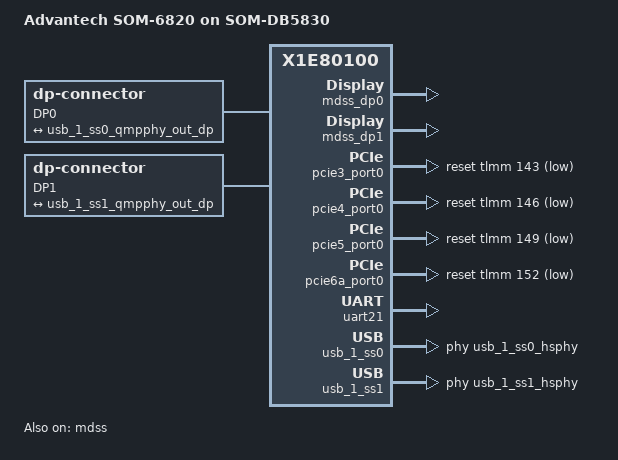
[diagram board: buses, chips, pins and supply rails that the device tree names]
// SPDX-License-Identifier: BSD-3-Clause
/*
 * Copyright (c) Qualcomm Technologies, Inc. and/or its subsidiaries.
 *
 * SoM: https://advdownload.advantech.com.cn/productfile/PIS/SOM-6820/file/SOM-6820_DS(052925)20250529110758.pdf
 * carrier board: https://www.advantech.com.cn/zh-cn/products/1-fc23ff/som-db5830/mod_16b1a718-27d6-4a4c-8684-e8f2a8e9c57b
 */

/dts-v1/;

#include "hamoa-advantech-som-6820.dtsi"

/ {
	model = "Advantech SOM-6820 on SOM-DB5830";
	compatible = "advantech,som-db5830", "advantech,som-6820",
		     "qcom,iq-x7181-evk-som", "qcom,x1e80100";
	chassis-type = "embedded";

	aliases {
		serial0 = &uart21;
	};

	chosen {
		stdout-path = "serial0:115200n8";
	};

	dp-connector-0 {
		compatible = "dp-connector";
		label = "DP0";
		type = "full-size";

		pinctrl-0 = <&usb0_dp_hpd_default>;
		pinctrl-names = "default";

		port {
			dp0_connector_in: endpoint {
				remote-endpoint = <&usb_1_ss0_qmpphy_out_dp>;
			};
		};
	};

	dp-connector-1 {
		compatible = "dp-connector";
		label = "DP1";
		type = "full-size";

		pinctrl-0 = <&usb1_dp_hpd_default>;
		pinctrl-names = "default";

		port {
			dp1_connector_in: endpoint {
				remote-endpoint = <&usb_1_ss1_qmpphy_out_dp>;
			};
		};
	};
};

&mdss {
	status = "okay";
};

&mdss_dp0 {
	status = "okay";
};

&mdss_dp0_out {
	link-frequencies = /bits/ 64 <1620000000 2700000000 5400000000 8100000000>;
};

&mdss_dp1 {
	status = "okay";
};

&mdss_dp1_out {
	link-frequencies = /bits/ 64 <1620000000 2700000000 5400000000 8100000000>;
};

&pcie3_port0 {
	reset-gpios = <&tlmm 143 GPIO_ACTIVE_LOW>;
	wake-gpios = <&tlmm 145 GPIO_ACTIVE_LOW>;
};

&pcie4_port0 {
	reset-gpios = <&tlmm 146 GPIO_ACTIVE_LOW>;
	wake-gpios = <&tlmm 148 GPIO_ACTIVE_LOW>;
};

&pcie5_port0 {
	reset-gpios = <&tlmm 149 GPIO_ACTIVE_LOW>;
	wake-gpios = <&tlmm 151 GPIO_ACTIVE_LOW>;
};

&pcie6a_port0 {
	reset-gpios = <&tlmm 152 GPIO_ACTIVE_LOW>;
	wake-gpios = <&tlmm 154 GPIO_ACTIVE_LOW>;
};

&thermal_zones {
	gpuss-0-thermal {
		trips {
			trip-point0 {
				temperature = <105000>;
			};
		};
	};

	gpuss-1-thermal {
		trips {
			trip-point0 {
				temperature = <105000>;
			};
		};
	};

	gpuss-2-thermal {
		trips {
			trip-point0 {
				temperature = <105000>;
			};
		};
	};

	gpuss-3-thermal {
		trips {
			trip-point0 {
				temperature = <105000>;
			};
		};
	};

	gpuss-4-thermal {
		trips {
			trip-point0 {
				temperature = <105000>;
			};
		};
	};

	gpuss-5-thermal {
		trips {
			trip-point0 {
				temperature = <105000>;
			};
		};
	};

	gpuss-6-thermal {
		trips {
			trip-point0 {
				temperature = <105000>;
			};
		};
	};

	gpuss-7-thermal {
		trips {
			trip-point0 {
				temperature = <105000>;
			};
		};
	};
};

&tlmm {
	usb0_dp_hpd_default: usb0-dp-hpd-default-state {
		pins = "gpio122";
		function = "usb0_dp";
		bias-disable;
	};

	usb1_dp_hpd_default: usb1-dp-hpd-default-state {
		pins = "gpio124";
		function = "usb1_dp";
		bias-disable;
	};
};

&uart21 {
	compatible = "qcom,geni-debug-uart";

	status = "okay";
};

&usb_1_ss0 {
	phys = <&usb_1_ss0_hsphy>;
	phy-names = "usb2-phy";
	maximum-speed = "high-speed";

	qcom,select-utmi-as-pipe-clk;
};

&usb_1_ss0_qmpphy {
	/delete-property/ mode-switch;
	/delete-property/ orientation-switch;

	ports {
		port@0 {
			#address-cells = <1>;
			#size-cells = <0>;

			/delete-node/ endpoint;

			usb_1_ss0_qmpphy_out_dp: endpoint@0 {
				reg = <0>;

				data-lanes = <3 2 1 0>;
				remote-endpoint = <&dp0_connector_in>;
			};
		};
	};
};

&usb_1_ss1 {
	phys = <&usb_1_ss1_hsphy>;
	phy-names = "usb2-phy";
	maximum-speed = "high-speed";

	qcom,select-utmi-as-pipe-clk;
};

&usb_1_ss1_qmpphy {
	/delete-property/ mode-switch;
	/delete-property/ orientation-switch;

	ports {
		port@0 {
			#address-cells = <1>;
			#size-cells = <0>;

			/delete-node/ endpoint;

			usb_1_ss1_qmpphy_out_dp: endpoint@0 {
				reg = <0>;

				data-lanes = <3 2 1 0>;
				remote-endpoint = <&dp1_connector_in>;
			};
		};
	};
};
